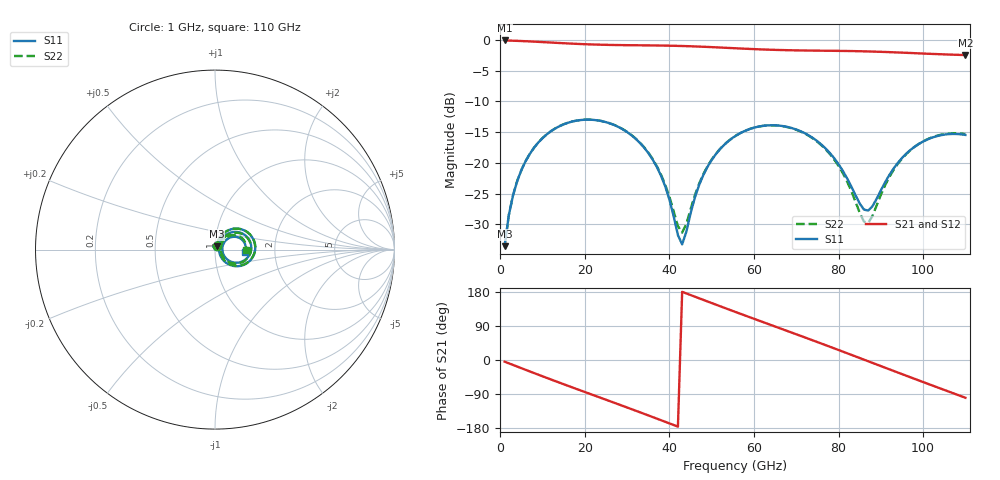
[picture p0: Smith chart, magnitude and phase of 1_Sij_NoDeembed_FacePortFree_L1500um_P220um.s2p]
! Touchstone file exported from HFSS 2024.2.0
!  File:  C:/Users/vaintrug/Documents/Ansoft_Workspace/Comparaison_Calculs_HFSS/1_VarPort.aedt
!  Generated:  03:22:17 PM Jan 21, 2025
!  Design:  1_NoDeembed_FacePortFree
!  Project:  1_VarPort
!  Setup:  Setup1
!  Solution:  Sweep
! Variables:
!  $Lenght = 1500um
!  $PortSize = 220um
!  Gap = 30um
!  Th = 2um
!  X_centralStrip = 20um
!  X_masse = 200um
!  Y_Sub = 1.5mm
!  Z_Box = 400um
!  Z_Sub = 200um
# GHz S MA R 50.000000
! Terminal data exported
! Port[1] = 1
! Port[2] = 2
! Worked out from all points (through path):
!   110 points, 1 GHz to 110 GHz, reference 50 ohm
!   highest |S21| = -0.10 dB at 1 GHz (marker M1); lowest = -2.5 dB at 110 GHz (marker M2)
!   group delay of S21, straight-line fit = 11.6 ps
!   lowest |S11| = -33.5 dB at 1 GHz (marker M3), VSWR 1.04, Z = 50.9 + j1.91 ohm
!   |S11| at or under -10 dB: start of sweep to end of sweep
!   |S22| runs from -33.5 to -13.0 dB; largest |S21 - S12| = 2.6e-15
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1  0.02108 62.9  0.9891 -4.4  0.9891 -4.4  0.02108 62.9
! Gamma 6.07609530728956 50.3056530871682 5.73085244390713 49.5814914338937
! Port Impedance 50 0 50 0
2  0.03773 69.7  0.9865 -8.8  0.9865 -8.8  0.03773 69.8
3  0.05474 70.0  0.984 -13.1  0.984 -13.1  0.05474 70.1
7  0.1191 58.4  0.9712 -30.3  0.9712 -30.3  0.1192 58.5
14  0.1992 31.2  0.9429 -59.9  0.9429 -59.9  0.1993 31.5
20  0.2246 7.9  0.9222 -84.6  0.9222 -84.6  0.2247 8.3
29  0.1873 -25.7  0.9064 -121.3  0.9064 -121.3  0.1878 -24.7
34  0.1332 -42.6  0.9027 -142.1  0.9027 -142.1  0.1342 -40.9
38  0.07871 -51.9  0.8992 -158.9  0.8992 -158.9  0.08041 -48.6
43  0.0218 6.2  0.8916 179.9  0.8916 179.9  0.02719 4.6
48  0.07966 56.4  0.8791 158.7  0.8791 158.7  0.081 52.3
52  0.13 47.1  0.8666 141.8  0.8666 141.8  0.1305 44.4
56  0.1689 34.1  0.8534 125.2  0.8534 125.2  0.1691 32.0
65  0.2023 3.1  0.8293 88.3  0.8293 88.3  0.2019 1.3
74  0.1589 -25.9  0.8181 51.4  0.8181 51.4  0.1575 -28.4
80  0.09768 -38.6  0.8138 26.4  0.8138 26.4  0.09457 -42.7
86  0.04182 -9.0  0.807 1.0  0.807 1.0  0.0334 -10.8
88  0.0444 19.7  0.8035 -7.5  0.8035 -7.5  0.037 26.7
92  0.07972 40.4  0.7951 -24.5  0.7951 -24.5  0.07677 47.3
96  0.1189 36.3  0.7849 -41.4  0.7849 -41.4  0.118 41.6
101  0.1552 23.3  0.7718 -62.3  0.7718 -62.3  0.1558 27.8
110  0.1689 -4.8  0.7528 -99.6  0.7528 -99.6  0.1719 0.1
